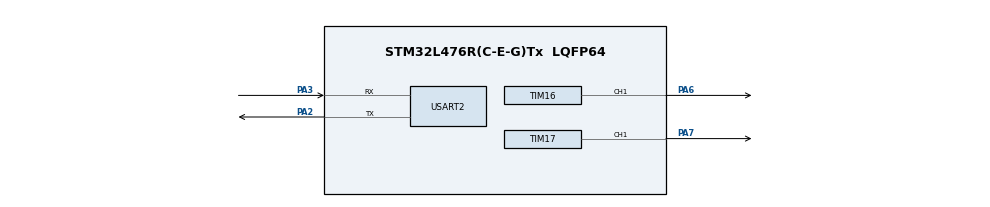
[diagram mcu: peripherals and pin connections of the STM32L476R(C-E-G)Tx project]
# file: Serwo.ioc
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Mcu.Family=STM32L4
Mcu.Name=STM32L476R(C-E-G)Tx
Mcu.Package=LQFP64
NVIC.PriorityGroup=NVIC_PRIORITYGROUP_4
NVIC.USART2_IRQn=true\:0\:0\:false\:false\:true\:true\:true
PA13\ (JTMS-SWDIO).Mode=Serial_Wire
PA13\ (JTMS-SWDIO).Signal=SYS_JTMS-SWDIO
PA14\ (JTCK-SWCLK).Mode=Serial_Wire
PA14\ (JTCK-SWCLK).Signal=SYS_JTCK-SWCLK
PA2.Mode=Asynchronous
PA2.Signal=USART2_TX
PA3.Mode=Asynchronous
PA3.Signal=USART2_RX
PA6.Signal=S_TIM16_CH1
PA7.Signal=S_TIM17_CH1
ProjectManager.HeapSize=0x200
ProjectManager.StackSize=0x400
ProjectManager.TargetToolchain=STM32CubeIDE
RCC.HSE_VALUE=8000000
RCC.HSI_VALUE=16000000
RCC.LSE_VALUE=32768
RCC.MSI_VALUE=4000000
RCC.VCOOutputFreq_Value=32000000
SH.S_TIM16_CH1.0=TIM16_CH1,PWM Generation1 CH1
SH.S_TIM17_CH1.0=TIM17_CH1,PWM Generation1 CH1
TIM16.AutoReloadPreload=TIM_AUTORELOAD_PRELOAD_ENABLE
TIM16.Channel=TIM_CHANNEL_1
TIM16.Period=19999
TIM16.Prescaler=3
TIM17.AutoReloadPreload=TIM_AUTORELOAD_PRELOAD_ENABLE
TIM17.Channel=TIM_CHANNEL_1
TIM17.Period=19999
TIM17.Prescaler=3
USART2.VirtualMode-Asynchronous=VM_ASYNC
VP_TIM16_VS_ClockSourceINT.Mode=Enable_Timer
VP_TIM17_VS_ClockSourceINT.Mode=Enable_Timer
board=custom

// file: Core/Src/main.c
/* USER CODE BEGIN Header */
/**
  ******************************************************************************
  * @file           : main.c
  * @brief          : Main program body
  ******************************************************************************
  * @attention
  *
  * Copyright (c) 2021 STMicroelectronics.
  * All rights reserved.
  *
  * This software is licensed under terms that can be found in the LICENSE file
  * in the root directory of this software component.
  * If no LICENSE file comes with this software, it is provided AS-IS.
  *
  ******************************************************************************
  */
/* USER CODE END Header */
#include "main.h"
#include "tim.h"
#include "usart.h"
#include "gpio.h"

/* USER CODE BEGIN PV */
uint8_t  komunikat[20];
uint16_t dl, znak;

  uint32_t serwo1;
  uint32_t serwo2;
  uint32_t x;
  uint32_t y;

/* USER CODE END PV */

void SystemClock_Config(void);

int main(void)
{

  /* MCU Configuration--------------------------------------------------------*/

  /* Reset of all peripherals, Initializes the Flash interface and the Systick. */
  HAL_Init();

  /* Configure the system clock */
  SystemClock_Config();

  /* Initialize all configured peripherals */
  MX_GPIO_Init();
  MX_TIM16_Init();
  MX_USART2_UART_Init();
  MX_TIM17_Init();
  /* USER CODE BEGIN 2 */
  HAL_UART_Receive_IT(&huart2, &znak, 1);
  HAL_TIM_PWM_Start(&htim16, TIM_CHANNEL_1);
  HAL_TIM_PWM_Start(&htim17, TIM_CHANNEL_1);

  printf("Udalo sie!");
  /* USER CODE END 2 */

  /* Infinite loop */
  /* USER CODE BEGIN WHILE */

  while (1)
  {

	  serwo1 = 20*znak + 400;
	  serwo2 = 20*znak + 520;

	  __HAL_TIM_SET_COMPARE(&htim16, TIM_CHANNEL_1, serwo1);
	  __HAL_TIM_SET_COMPARE(&htim17, TIM_CHANNEL_1, serwo2);
    /* USER CODE END WHILE */

  }
}

void SystemClock_Config(void)
{
  RCC_OscInitTypeDef RCC_OscInitStruct = {0};
  RCC_ClkInitTypeDef RCC_ClkInitStruct = {0};

  /** Configure the main internal regulator output voltage
  */
  if (HAL_PWREx_ControlVoltageScaling(PWR_REGULATOR_VOLTAGE_SCALE1) != HAL_OK)
  {
    Error_Handler();
  }
  /** Initializes the RCC Oscillators according to the specified parameters
  * in the RCC_OscInitTypeDef structure.
  */
  RCC_OscInitStruct.OscillatorType = RCC_OSCILLATORTYPE_MSI;
  RCC_OscInitStruct.MSIState = RCC_MSI_ON;
  RCC_OscInitStruct.MSICalibrationValue = 0;
  RCC_OscInitStruct.MSIClockRange = RCC_MSIRANGE_6;
  RCC_OscInitStruct.PLL.PLLState = RCC_PLL_NONE;
  if (HAL_RCC_OscConfig(&RCC_OscInitStruct) != HAL_OK)
  {
    Error_Handler();
  }
  /** Initializes the CPU, AHB and APB buses clocks
  */
  RCC_ClkInitStruct.ClockType = RCC_CLOCKTYPE_HCLK|RCC_CLOCKTYPE_SYSCLK
                              |RCC_CLOCKTYPE_PCLK1|RCC_CLOCKTYPE_PCLK2;
  RCC_ClkInitStruct.SYSCLKSource = RCC_SYSCLKSOURCE_MSI;
  RCC_ClkInitStruct.AHBCLKDivider = RCC_SYSCLK_DIV1;
  RCC_ClkInitStruct.APB1CLKDivider = RCC_HCLK_DIV1;
  RCC_ClkInitStruct.APB2CLKDivider = RCC_HCLK_DIV1;

  if (HAL_RCC_ClockConfig(&RCC_ClkInitStruct, FLASH_LATENCY_0) != HAL_OK)
  {
    Error_Handler();
  }
}

/* USER CODE BEGIN 4 */
void HAL_UART_RxCpltCallback(UART_HandleTypeDef *huart)
{
	if(huart->Instance == USART2){

		dl = sprintf(komunikat,"Received value %d", znak);

		HAL_UART_Transmit_IT(&huart2, (uint8_t*)komunikat, dl);
		HAL_UART_Receive_IT(&huart2, &znak, 1);

	}
}
/* USER CODE END 4 */

void Error_Handler(void)
{
  __disable_irq();
  while (1)
  {
  }
}
